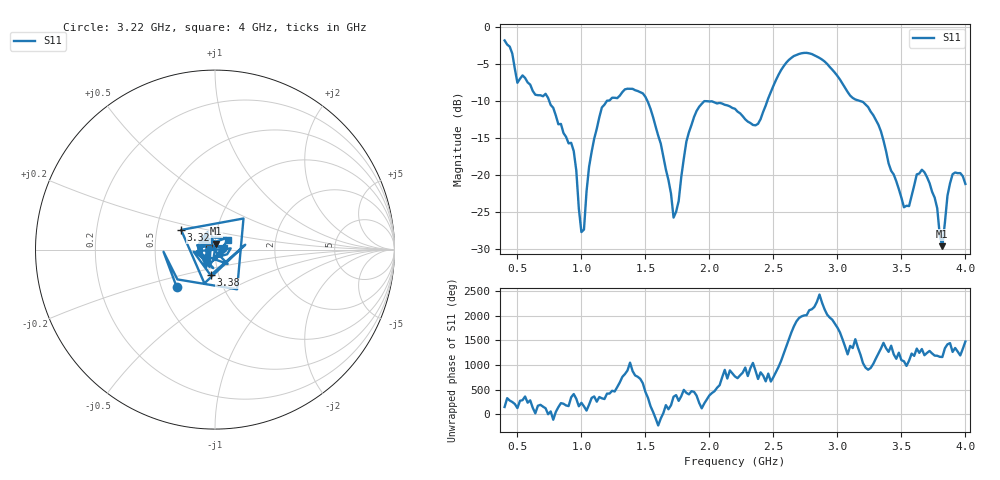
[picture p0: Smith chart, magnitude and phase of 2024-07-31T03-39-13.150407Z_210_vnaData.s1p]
!Created with skrf (http://scikit-rf.org).
# Hz S RI R 50.0
!freq ReS11 ImS11
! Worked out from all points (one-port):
!   181 points, 400 MHz to 4 GHz, reference 50 ohm
!   lowest |S11| = -29.6 dB at 3.82 GHz (marker M1), VSWR 1.07, Z = 50.4 + j3.3 ohm
!   |S11| at or under -10 dB: 748 MHz to 1.2 GHz (451.7 MHz wide, 46.4 % of centre); 1.515 GHz to 2.453 GHz (937.9 MHz wide, 47.3 % of centre); 3.172 GHz to end of sweep
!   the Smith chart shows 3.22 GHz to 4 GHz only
!   S11 on the Smith chart (normalised r, x): 3.22 GHz: 0.60, -0.28; 3.32 GHz: 0.67, +0.15; 3.38 GHz: 0.92, -0.27; 4 GHz: 1.14, +0.12
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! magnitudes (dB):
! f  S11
! 400 MHz  -1.9
! 500 MHz  -7.6
! 720 MHz  -9.1
! 860 MHz  -14.4
! 940 MHz  -16.8
! 1 GHz  -27.7
! 1.02 GHz  -27.4
! 1.06 GHz  -18.9
! 1.16 GHz  -10.9
! 1.3 GHz  -9.3
! 1.5 GHz  -9.5
! 1.62 GHz  -15.8
! 1.72 GHz  -25.8
! 1.76 GHz  -23.5
! 1.82 GHz  -15.5
! 1.9 GHz  -11.4
! 2.2 GHz  -11.1
! 2.38 GHz  -13.1
! 2.66 GHz  -4.0
! 3.1 GHz  -9.3
! 3.22 GHz  -10.5
! 3.32 GHz  -13.2
! 3.38 GHz  -16.8
! 3.56 GHz  -24.2
! 3.68 GHz  -19.6
! 3.82 GHz  -29.6
! 3.9 GHz  -19.9
! 4 GHz  -21.2
